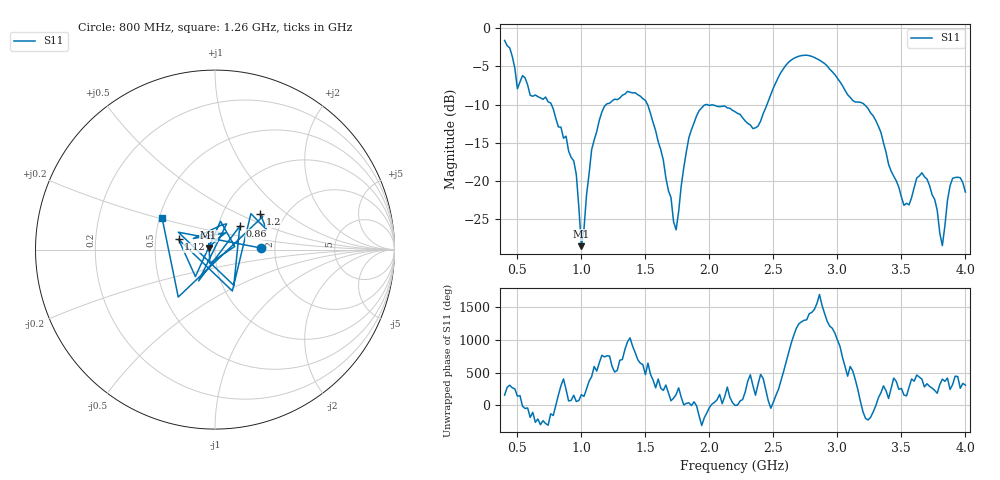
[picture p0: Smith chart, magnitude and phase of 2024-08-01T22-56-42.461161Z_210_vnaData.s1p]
!Created with skrf (http://scikit-rf.org).
# Hz S RI R 50.0
!freq ReS11 ImS11
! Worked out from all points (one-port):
!   181 points, 400 MHz to 4 GHz, reference 50 ohm
!   lowest |S11| = -28.5 dB at 1 GHz (marker M1), VSWR 1.08, Z = 46.5 + j1.06 ohm
!   |S11| at or under -10 dB: 1.517 GHz to 1.974 GHz (456.9 MHz wide, 26.2 % of centre); 1.984 GHz to 2.45 GHz (465.8 MHz wide, 21 % of centre); 3.211 GHz to end of sweep (the widest 3 of 4)
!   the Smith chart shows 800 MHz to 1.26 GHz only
!   S11 on the Smith chart (normalised r, x): 800 MHz: 1.69, +0.03; 860 MHz: 1.27, +0.35; 1.12 GHz: 0.66, +0.08; 1.2 GHz: 1.50, +0.66; 1.26 GHz: 0.52, +0.21
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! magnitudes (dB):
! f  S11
! 400 MHz  -1.6
! 500 MHz  -7.9
! 800 MHz  -11.8
! 860 MHz  -14.4
! 960 MHz  -19.1
! 1 GHz  -28.5
! 1.08 GHz  -15.9
! 1.12 GHz  -13.5
! 1.2 GHz  -9.9
! 1.26 GHz  -9.3
! 1.3 GHz  -9.1
! 1.5 GHz  -9.5
! 1.64 GHz  -17.3
! 1.72 GHz  -25.3
! 1.76 GHz  -23.9
! 1.84 GHz  -14.3
! 1.92 GHz  -10.8
! 2.2 GHz  -10.9
! 2.38 GHz  -12.8
! 2.66 GHz  -3.9
! 3.1 GHz  -9.1
! 3.28 GHz  -11.5
! 3.56 GHz  -23.1
! 3.66 GHz  -18.9
! 3.76 GHz  -22.4
! 3.82 GHz  -28.4
! 3.9 GHz  -19.6
! 4 GHz  -21.4
